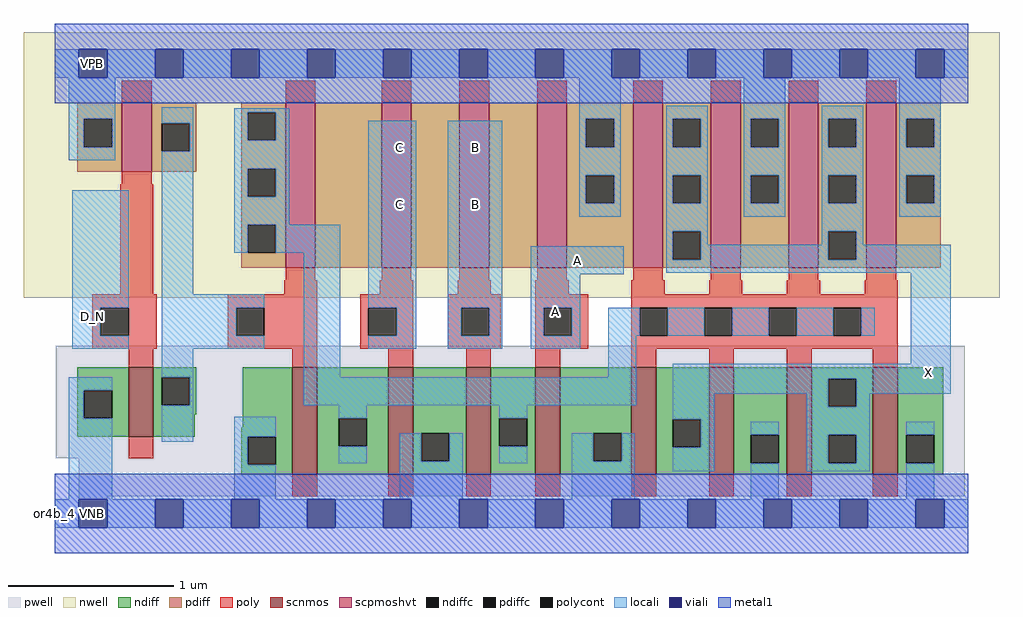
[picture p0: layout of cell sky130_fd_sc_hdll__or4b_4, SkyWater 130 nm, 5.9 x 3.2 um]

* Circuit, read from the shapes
.subckt sky130_fd_sc_hdll__or4b_4 A B C D_N VGND VNB VPB VPWR X
XM1 n1 D_N VGND VNB sky130_fd_pr__nfet_01v8 w=0.42 l=0.15
XM2 n2 n1 VGND VNB sky130_fd_pr__nfet_01v8 w=0.65 l=0.15
XM3 VGND C n2 VNB sky130_fd_pr__nfet_01v8 w=0.65 l=0.15
XM4 n2 B VGND VNB sky130_fd_pr__nfet_01v8 w=0.65 l=0.15
XM5 VGND A n2 VNB sky130_fd_pr__nfet_01v8 w=0.65 l=0.15
XM6 X n2 VGND VNB sky130_fd_pr__nfet_01v8 w=0.65 l=0.15 m=4
XM7 n1 D_N VPWR VPB sky130_fd_pr__pfet_01v8_hvt w=0.42 l=0.18
XM8 n3 n1 n2 VPB sky130_fd_pr__pfet_01v8_hvt w=1 l=0.18
XM9 n4 C n3 VPB sky130_fd_pr__pfet_01v8_hvt w=1 l=0.18
XM10 n5 B n4 VPB sky130_fd_pr__pfet_01v8_hvt w=1 l=0.18
XM11 VPWR A n5 VPB sky130_fd_pr__pfet_01v8_hvt w=1 l=0.18
XM12 X n2 VPWR VPB sky130_fd_pr__pfet_01v8_hvt w=1 l=0.18 m=4
.ends

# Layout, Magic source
magic
tech sky130A
magscale 1 2
<< nwell >>
rect -38 261 1142 582
<< pwell >>
rect 1 67 1100 203
rect 29 21 1100 67
rect 29 -17 63 21
<< scnmos >>
rect 89 93 119 177
rect 287 47 317 177
rect 403 47 433 177
rect 497 47 527 177
rect 581 47 611 177
rect 697 47 727 177
rect 791 47 821 177
rect 885 47 915 177
rect 989 47 1019 177
<< scpmoshvt >>
rect 81 413 117 497
rect 279 297 315 497
rect 395 297 431 497
rect 489 297 525 497
rect 583 297 619 497
rect 699 297 735 497
rect 793 297 829 497
rect 887 297 923 497
rect 981 297 1017 497
<< ndiff >>
rect 27 149 89 177
rect 27 115 35 149
rect 69 115 89 149
rect 27 93 89 115
rect 119 165 171 177
rect 119 131 129 165
rect 163 131 171 165
rect 119 120 171 131
rect 119 93 169 120
rect 227 104 287 177
rect 225 93 287 104
rect 225 59 233 93
rect 267 59 287 93
rect 225 47 287 59
rect 317 115 403 177
rect 317 81 343 115
rect 377 81 403 115
rect 317 47 403 81
rect 433 97 497 177
rect 433 63 443 97
rect 477 63 497 97
rect 433 47 497 63
rect 527 115 581 177
rect 527 81 537 115
rect 571 81 581 115
rect 527 47 581 81
rect 611 97 697 177
rect 611 63 651 97
rect 685 63 697 97
rect 611 47 697 63
rect 727 114 791 177
rect 727 80 747 114
rect 781 80 791 114
rect 727 47 791 80
rect 821 95 885 177
rect 821 61 841 95
rect 875 61 885 95
rect 821 47 885 61
rect 915 163 989 177
rect 915 129 935 163
rect 969 129 989 163
rect 915 95 989 129
rect 915 61 935 95
rect 969 61 989 95
rect 915 47 989 61
rect 1019 95 1074 177
rect 1019 61 1029 95
rect 1063 61 1074 95
rect 1019 47 1074 61
<< pdiff >>
rect 27 477 81 497
rect 27 443 35 477
rect 69 443 81 477
rect 27 413 81 443
rect 117 472 171 497
rect 117 438 129 472
rect 163 438 171 472
rect 117 413 171 438
rect 225 485 279 497
rect 225 451 233 485
rect 267 451 279 485
rect 225 417 279 451
rect 225 383 233 417
rect 267 383 279 417
rect 225 349 279 383
rect 225 315 233 349
rect 267 315 279 349
rect 225 297 279 315
rect 315 297 395 497
rect 431 297 489 497
rect 525 297 583 497
rect 619 477 699 497
rect 619 443 642 477
rect 676 443 699 477
rect 619 409 699 443
rect 619 375 642 409
rect 676 375 699 409
rect 619 297 699 375
rect 735 477 793 497
rect 735 443 747 477
rect 781 443 793 477
rect 735 409 793 443
rect 735 375 747 409
rect 781 375 793 409
rect 735 341 793 375
rect 735 307 747 341
rect 781 307 793 341
rect 735 297 793 307
rect 829 477 887 497
rect 829 443 841 477
rect 875 443 887 477
rect 829 409 887 443
rect 829 375 841 409
rect 875 375 887 409
rect 829 297 887 375
rect 923 477 981 497
rect 923 443 935 477
rect 969 443 981 477
rect 923 409 981 443
rect 923 375 935 409
rect 969 375 981 409
rect 923 341 981 375
rect 923 307 935 341
rect 969 307 981 341
rect 923 297 981 307
rect 1017 477 1071 497
rect 1017 443 1029 477
rect 1063 443 1071 477
rect 1017 409 1071 443
rect 1017 375 1029 409
rect 1063 375 1071 409
rect 1017 297 1071 375
<< ndiffc >>
rect 35 115 69 149
rect 129 131 163 165
rect 233 59 267 93
rect 343 81 377 115
rect 443 63 477 97
rect 537 81 571 115
rect 651 63 685 97
rect 747 80 781 114
rect 841 61 875 95
rect 935 129 969 163
rect 935 61 969 95
rect 1029 61 1063 95
<< pdiffc >>
rect 35 443 69 477
rect 129 438 163 472
rect 233 451 267 485
rect 233 383 267 417
rect 233 315 267 349
rect 642 443 676 477
rect 642 375 676 409
rect 747 443 781 477
rect 747 375 781 409
rect 747 307 781 341
rect 841 443 875 477
rect 841 375 875 409
rect 935 443 969 477
rect 935 375 969 409
rect 935 307 969 341
rect 1029 443 1063 477
rect 1029 375 1063 409
<< poly >>
rect 81 497 117 523
rect 279 497 315 523
rect 395 497 431 523
rect 489 497 525 523
rect 583 497 619 523
rect 699 497 735 523
rect 793 497 829 523
rect 887 497 923 523
rect 981 497 1017 523
rect 81 398 117 413
rect 79 265 119 398
rect 279 282 315 297
rect 395 282 431 297
rect 489 282 525 297
rect 583 282 619 297
rect 699 282 735 297
rect 793 282 829 297
rect 887 282 923 297
rect 981 282 1017 297
rect 277 265 317 282
rect 393 265 433 282
rect 487 265 527 282
rect 581 265 621 282
rect 697 265 737 282
rect 791 265 831 282
rect 885 265 925 282
rect 979 265 1019 282
rect 45 249 123 265
rect 45 215 55 249
rect 89 215 123 249
rect 45 199 123 215
rect 209 249 317 265
rect 209 215 219 249
rect 253 215 317 249
rect 209 199 317 215
rect 369 249 433 265
rect 369 215 379 249
rect 413 215 433 249
rect 369 199 433 215
rect 475 249 539 265
rect 475 215 491 249
rect 525 215 539 249
rect 475 199 539 215
rect 581 249 645 265
rect 581 215 591 249
rect 625 215 645 249
rect 581 199 645 215
rect 697 249 1019 265
rect 697 215 707 249
rect 741 215 785 249
rect 819 215 863 249
rect 897 215 941 249
rect 975 215 1019 249
rect 697 199 1019 215
rect 89 177 119 199
rect 287 177 317 199
rect 403 177 433 199
rect 497 177 527 199
rect 581 177 611 199
rect 697 177 727 199
rect 791 177 821 199
rect 885 177 915 199
rect 989 177 1019 199
rect 89 67 119 93
rect 287 21 317 47
rect 403 21 433 47
rect 497 21 527 47
rect 581 21 611 47
rect 697 21 727 47
rect 791 21 821 47
rect 885 21 915 47
rect 989 21 1019 47
<< polycont >>
rect 55 215 89 249
rect 219 215 253 249
rect 379 215 413 249
rect 491 215 525 249
rect 591 215 625 249
rect 707 215 741 249
rect 785 215 819 249
rect 863 215 897 249
rect 941 215 975 249
<< locali >>
rect 0 527 29 561
rect 63 527 121 561
rect 155 527 213 561
rect 247 527 305 561
rect 339 527 397 561
rect 431 527 489 561
rect 523 527 581 561
rect 615 527 673 561
rect 707 527 765 561
rect 799 527 857 561
rect 891 527 949 561
rect 983 527 1041 561
rect 1075 527 1104 561
rect 17 477 73 527
rect 17 443 35 477
rect 69 443 73 477
rect 17 427 73 443
rect 129 472 167 491
rect 163 438 167 472
rect 21 249 89 391
rect 21 215 55 249
rect 21 199 89 215
rect 129 265 167 438
rect 217 485 283 490
rect 217 451 233 485
rect 267 451 283 485
rect 634 477 684 527
rect 217 417 283 451
rect 217 383 233 417
rect 267 383 283 417
rect 217 349 283 383
rect 217 315 233 349
rect 267 315 345 349
rect 129 249 253 265
rect 129 215 219 249
rect 129 199 253 215
rect 129 165 167 199
rect 17 149 69 165
rect 17 115 35 149
rect 17 17 69 115
rect 163 131 167 165
rect 301 165 345 315
rect 379 249 437 475
rect 413 215 437 249
rect 379 199 437 215
rect 475 249 541 475
rect 634 443 642 477
rect 676 443 684 477
rect 634 409 684 443
rect 634 375 642 409
rect 676 375 684 409
rect 634 359 684 375
rect 739 477 789 493
rect 739 443 747 477
rect 781 443 789 477
rect 739 409 789 443
rect 739 375 747 409
rect 781 375 789 409
rect 739 341 789 375
rect 833 477 883 527
rect 833 443 841 477
rect 875 443 883 477
rect 833 409 883 443
rect 833 375 841 409
rect 875 375 883 409
rect 833 359 883 375
rect 927 477 977 493
rect 927 443 935 477
rect 969 443 977 477
rect 927 409 977 443
rect 927 375 935 409
rect 969 375 977 409
rect 475 215 491 249
rect 525 215 541 249
rect 475 199 541 215
rect 575 289 688 323
rect 739 307 747 341
rect 781 325 789 341
rect 927 341 977 375
rect 1021 477 1071 527
rect 1021 443 1029 477
rect 1063 443 1071 477
rect 1021 409 1071 443
rect 1021 375 1029 409
rect 1063 375 1071 409
rect 1021 359 1071 375
rect 927 325 935 341
rect 781 307 935 325
rect 969 325 977 341
rect 969 307 1083 325
rect 739 291 1083 307
rect 575 249 635 289
rect 575 215 591 249
rect 625 215 635 249
rect 575 199 635 215
rect 669 215 707 249
rect 741 215 785 249
rect 819 215 863 249
rect 897 215 941 249
rect 975 215 991 249
rect 669 165 703 215
rect 1035 181 1083 291
rect 301 131 703 165
rect 747 163 1083 181
rect 747 145 935 163
rect 129 87 167 131
rect 217 93 267 117
rect 217 59 233 93
rect 343 115 377 131
rect 537 115 571 131
rect 343 61 377 81
rect 417 63 443 97
rect 477 63 493 97
rect 217 17 267 59
rect 417 17 493 63
rect 747 114 797 145
rect 537 61 571 81
rect 625 63 651 97
rect 685 63 701 97
rect 625 17 701 63
rect 781 80 797 114
rect 909 129 935 145
rect 969 145 1083 163
rect 969 129 985 145
rect 747 51 797 80
rect 841 95 875 111
rect 841 17 875 61
rect 909 95 985 129
rect 909 61 935 95
rect 969 61 985 95
rect 909 51 985 61
rect 1029 95 1063 111
rect 1029 17 1063 61
rect 0 -17 29 17
rect 63 -17 121 17
rect 155 -17 213 17
rect 247 -17 305 17
rect 339 -17 397 17
rect 431 -17 489 17
rect 523 -17 581 17
rect 615 -17 673 17
rect 707 -17 765 17
rect 799 -17 857 17
rect 891 -17 949 17
rect 983 -17 1041 17
rect 1075 -17 1104 17
<< viali >>
rect 29 527 63 561
rect 121 527 155 561
rect 213 527 247 561
rect 305 527 339 561
rect 397 527 431 561
rect 489 527 523 561
rect 581 527 615 561
rect 673 527 707 561
rect 765 527 799 561
rect 857 527 891 561
rect 949 527 983 561
rect 1041 527 1075 561
rect 29 -17 63 17
rect 121 -17 155 17
rect 213 -17 247 17
rect 305 -17 339 17
rect 397 -17 431 17
rect 489 -17 523 17
rect 581 -17 615 17
rect 673 -17 707 17
rect 765 -17 799 17
rect 857 -17 891 17
rect 949 -17 983 17
rect 1041 -17 1075 17
<< metal1 >>
rect 0 561 1104 592
rect 0 527 29 561
rect 63 527 121 561
rect 155 527 213 561
rect 247 527 305 561
rect 339 527 397 561
rect 431 527 489 561
rect 523 527 581 561
rect 615 527 673 561
rect 707 527 765 561
rect 799 527 857 561
rect 891 527 949 561
rect 983 527 1041 561
rect 1075 527 1104 561
rect 0 496 1104 527
rect 0 17 1104 48
rect 0 -17 29 17
rect 63 -17 121 17
rect 155 -17 213 17
rect 247 -17 305 17
rect 339 -17 397 17
rect 431 -17 489 17
rect 523 -17 581 17
rect 615 -17 673 17
rect 707 -17 765 17
rect 799 -17 857 17
rect 891 -17 949 17
rect 983 -17 1041 17
rect 1075 -17 1104 17
rect 0 -48 1104 -17
<< labels >>
flabel locali s 29 221 63 255 0 FreeSans 400 0 0 0 D_N
port 4 nsew signal input
flabel locali s 492 425 526 459 0 FreeSans 400 0 0 0 B
port 2 nsew signal input
flabel locali s 492 357 526 391 0 FreeSans 400 0 0 0 B
port 2 nsew signal input
flabel locali s 399 357 433 391 0 FreeSans 400 0 0 0 C
port 3 nsew signal input
flabel locali s 575 289 688 323 0 FreeSans 400 0 0 0 A
port 1 nsew signal input
flabel locali s 399 425 433 459 0 FreeSans 400 0 0 0 C
port 3 nsew signal input
flabel locali s 1039 153 1073 187 0 FreeSans 400 0 0 0 X
port 9 nsew signal output
flabel pwell s 29 -17 63 17 0 FreeSans 200 0 0 0 VNB
port 6 nsew ground bidirectional
flabel nwell s 29 527 63 561 0 FreeSans 200 0 0 0 VPB
port 7 nsew power bidirectional
flabel metal1 s 29 -17 63 17 0 FreeSans 200 0 0 0 VGND
port 5 nsew ground bidirectional
flabel metal1 s 29 527 63 561 0 FreeSans 200 0 0 0 VPWR
port 8 nsew power bidirectional
rlabel comment s 0 0 0 0 4 or4b_4
rlabel locali s 575 199 635 289 1 A
port 1 nsew signal input
<< properties >>
string LEFsite unithd
string LEFclass CORE
string FIXED_BBOX 0 0 1104 544
string GDS_FILE $PDKPATH/libs.ref/sky130_fd_sc_hdll/gds/sky130_fd_sc_hdll.gds
string LEFsymmetry X Y R90
string GDS_END 2628952
string GDS_START 2620216
string LEFproperties maskLayoutSubType "abstract" prCellType "standard" originalViewName "layout"
<< end >>
